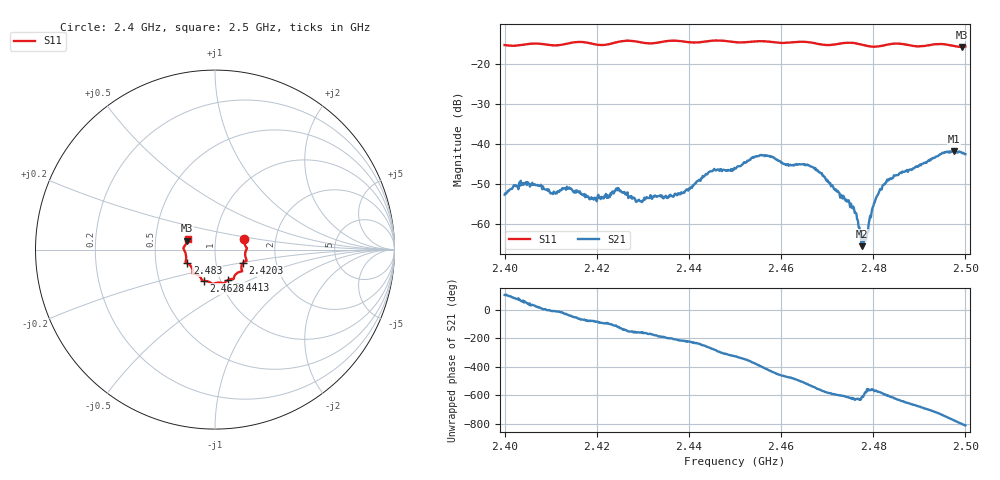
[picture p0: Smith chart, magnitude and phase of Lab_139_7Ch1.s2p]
# Hz S RI R 50
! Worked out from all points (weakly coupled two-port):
!   601 points, 2.4 GHz to 2.5 GHz, reference 50 ohm
!   highest |S21| = -41.90 dB at 2.4975 GHz (marker M1); lowest = -65.6 dB at 2.4775 GHz (marker M2)
!   lowest |S11| = -15.8 dB at 2.4993 GHz (marker M3), VSWR 1.39, Z = 36.5 + j3.69 ohm
!   |S11| at or under -10 dB: start of sweep to end of sweep
!   S12 and S22 are empty: the file has one direction only
!   S11 on the Smith chart (normalised r, x): 2.4 GHz: 1.37, +0.16; 2.4203 GHz: 1.35, -0.21; 2.4413 GHz: 1.09, -0.38; 2.4628 GHz: 0.83, -0.30; 2.483 GHz: 0.72, -0.11; 2.5 GHz: 0.73, +0.09
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2.4e9  0.1611 0.0569  -0.000544 0.00224  0 0  0 0
2.404667e9  0.1741 0.0143  0.0021 0.00257  0 0  0 0
2.416667e9  0.1762 -0.0616  0.000846 -0.0022  0 0  0 0
2.420333e9  0.1553 -0.0742  0.00018 -0.00229  0 0  0 0
2.424667e9  0.1496 -0.113  -0.00148 -0.00237  0 0  0 0
2.429e9  0.1413 -0.123  -0.00183 -0.000721  0 0  0 0
2.433333e9  0.1081 -0.1484  -0.0022 0.000275  0 0  0 0
2.441333e9  0.0745 -0.1681  -0.00193 0.00254  0 0  0 0
2.445e9  0.0523 -0.1863  0.000417 0.00451  0 0  0 0
2.45e9  0.0293 -0.1838  0.00417 0.00271  0 0  0 0
2.455833e9  -0.0112 -0.1908  0.00542 -0.00468  0 0  0 0
2.462833e9  -0.0631 -0.1747  -0.00318 -0.00429  0 0  0 0
2.466667e9  -0.0745 -0.1674  -0.00516 -0.000222  0 0  0 0
2.475167e9  -0.1252 -0.133  -0.00026 0.00176  0 0  0 0
2.4775e9  -0.1242 -0.1206  -0.000151 0.000502  0 0  0 0
2.478333e9  -0.1249 -0.1131  -0.000499 0.000374  0 0  0 0
2.480333e9  -0.1336 -0.0934  -0.00158 0.000982  0 0  0 0
2.483e9  -0.1548 -0.0766  -0.00156 0.00319  0 0  0 0
2.483333e9  -0.1571 -0.0757  -0.00146 0.00315  0 0  0 0
2.4975e9  -0.164 0.0278  0.00444 -0.0067  0 0  0 0
2.499333e9  -0.1546 0.0493  0.000792 -0.00756  0 0  0 0
2.5e9  -0.1528 0.0583  -0.000256 -0.00739  0 0  0 0
